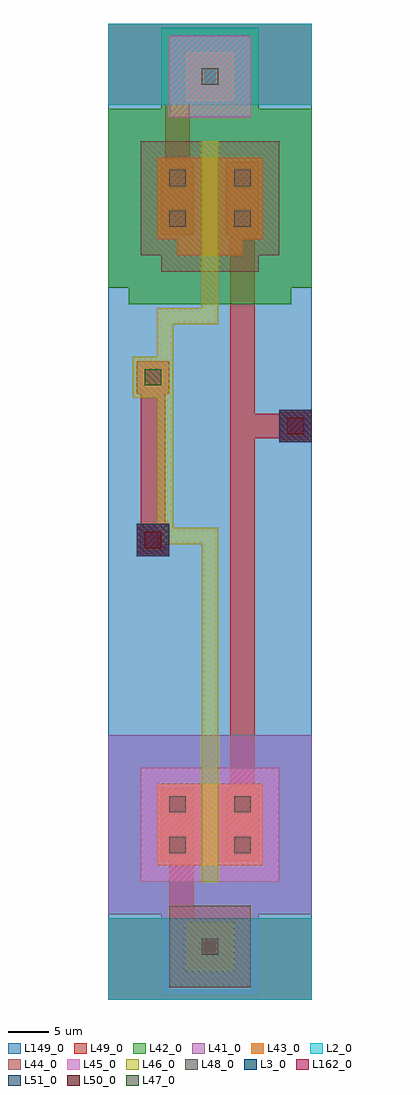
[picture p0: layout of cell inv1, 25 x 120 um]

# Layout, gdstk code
import gdstk
lib = gdstk.Library(unit=1e-6, precision=1e-09)
def R(c, l, rs):  # rectangles x0, y0, x1, y1
    for r in rs: c.add(gdstk.rectangle(r[:2], r[2:], *l))
def P(c, l, *ps):  # polygons
    for p in ps: c.add(gdstk.Polygon(p, *l))
L2_0 = (2, 0)
L3_0 = (3, 0)
L41_0 = (41, 0)
L42_0 = (42, 0)
L43_0 = (43, 0)
L44_0 = (44, 0)
L45_0 = (45, 0)
L46_0 = (46, 0)
L47_0 = (47, 0)
L48_0 = (48, 0)
L49_0 = (49, 0)
L50_0 = (50, 0)
L51_0 = (51, 0)
L149_0 = (149, 0)
L162_0 = (162, 0)

via = lib.new_cell('via')
R(via, L49_0, [(-2,-2,2,2)])
R(via, L50_0, [(-1,-1,1,1)])
R(via, L51_0, [(-2,-2,2,2)])

inv1 = lib.new_cell('inv1')
R(inv1, L2_0, [(0,0,25,10), (0,110,25,120)])
R(inv1, L3_0, [(3.5,54.5,7.5,58.5), (21,68.5,25,72.5)])
R(inv1, L41_0, [(6.5,0.5,18.5,12.5), (0,10.5,25,32.5)])
R(inv1, L42_0, [(6.5,107.5,18.5,119.5)])
P(inv1, L42_0, [(22.5,85.5),(22.5,87.5),(25,87.5),(25,109.5),(0,109.5),(0,87.5),(2.5,87.5),(2.5,85.5)])
R(inv1, L43_0, [(9.5,3.5,15.5,9.5), (6,16.5,11.5,26.5), (6,16.5,19,26.5), (13.5,16.5,19,26.5), (9.5,110.5,15.5,116.5)])
P(inv1, L43_0, [(11.5,91.5),(11.5,103.5),(6,103.5),(6,93.5),(8.5,93.5),(8.5,91.5)],
  [(16.5,91.5),(16.5,93.5),(19,93.5),(19,103.5),(13.5,103.5),(13.5,91.5)],
  [(16.5,91.5),(16.5,93.5),(19,93.5),(19,103.5),(6,103.5),(6,93.5),(8.5,93.5),(8.5,91.5)])
R(inv1, L44_0, [(7.5,1.5,17.5,11.5)])
P(inv1, L44_0, [(18.5,89.5),(18.5,91.5),(21,91.5),(21,105.5),(4,105.5),(4,91.5),(6.5,91.5),(6.5,89.5)])
R(inv1, L45_0, [(4,14.5,21,28.5), (7.5,108.5,17.5,118.5)])
R(inv1, L46_0, [(11.5,14.5,13.5,16.5), (11.5,16.5,13.5,26.5), (11.5,26.5,13.5,28.5), (3,74,8,79), (11.5,89.5,13.5,91.5), (11.5,91.5,13.5,103.5), (11.5,103.5,13.5,105.5)])
R(inv1, L47_0, [(4.5,75.5,6.5,77.5)])
R(inv1, L48_0, [(11.5,5.5,13.5,7.5), (7.5,18,9.5,20), (15.5,18,17.5,20), (7.5,23,9.5,25), (15.5,23,17.5,25), (7.5,95,9.5,97), (15.5,95,17.5,97), (7.5,100,9.5,102), (15.5,100,17.5,102), (11.5,112.5,13.5,114.5)])
R(inv1, L49_0, [(0,0,25,10), (10.5,4.5,14.5,8.5), (7.5,5.5,10.5,20), (6.5,17,10.5,26), (14.5,17,18.5,26), (3.5,74.5,7.5,78.5), (6.5,94,10.5,103), (14.5,94,18.5,103), (7,99.5,10,114), (0,110,25,120), (10.5,111.5,14.5,115.5)])
R(inv1, L149_0, [(0,0,25,10), (0,0,25,120), (10.5,4.5,14.5,8.5), (7.5,5.5,10.5,20), (3.5,74.5,7.5,78.5), (7,99.5,10,114), (0,110,25,120), (10.5,111.5,14.5,115.5)])
R(inv1, L162_0, [(3.5,54.5,7.5,58.5), (21,68.5,25,72.5)])
inv1.add(gdstk.FlexPath([(16.5,70.5),(23,70.5)], 3, ends="extended", simple_path=True, layer=149, datatype=0))  # L149_0
inv1.add(gdstk.FlexPath([(16.5,43),(16.5,23.5)], 3, ends="extended", simple_path=True, layer=149, datatype=0))  # L149_0
inv1.add(gdstk.FlexPath([(16.5,100.5),(16.5,43)], 3, ends="extended", simple_path=True, layer=149, datatype=0))  # L149_0
inv1.add(gdstk.FlexPath([(5.5,56.5),(5.5,76.5)], 3, ends="extended", simple_path=True, layer=149, datatype=0))  # L149_0
inv1.add(gdstk.FlexPath([(12.5,92.5),(12.5,84),(7,84),(7,57),(12.5,57),(12.5,49)], 2, ends="flush", simple_path=True, layer=46, datatype=0))  # L46_0
inv1.add(gdstk.FlexPath([(12.5,49.5),(12.5,27.5)], 2, ends="flush", simple_path=True, layer=46, datatype=0))  # L46_0
inv1.add(gdstk.FlexPath([(16.5,70.5),(23,70.5)], 3, ends="extended", simple_path=True, layer=49, datatype=0))  # L49_0
inv1.add(gdstk.FlexPath([(16.5,43),(16.5,23.5)], 3, ends="extended", simple_path=True, layer=49, datatype=0))  # L49_0
inv1.add(gdstk.FlexPath([(16.5,100.5),(16.5,43)], 3, ends="extended", simple_path=True, layer=49, datatype=0))  # L49_0
inv1.add(gdstk.FlexPath([(5.5,56.5),(5.5,76.5)], 3, ends="extended", simple_path=True, layer=49, datatype=0))  # L49_0
inv1.add(gdstk.Reference(via, (23,70.5)))
inv1.add(gdstk.Reference(via, (5.5,56.5)))

lib.write_gds('inv1.gds')
